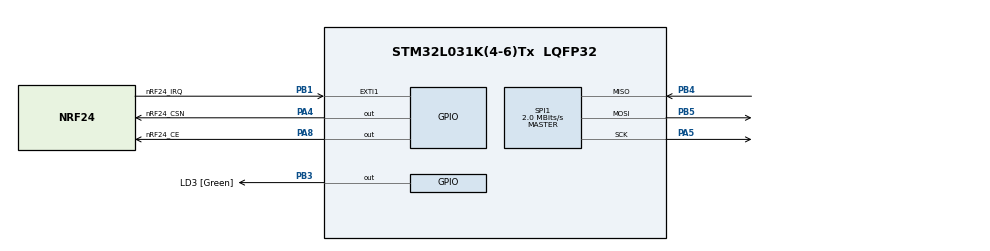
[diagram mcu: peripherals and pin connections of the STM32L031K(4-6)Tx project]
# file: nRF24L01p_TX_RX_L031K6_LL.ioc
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Mcu.Family=STM32L0
Mcu.Name=STM32L031K(4-6)Tx
Mcu.Package=LQFP32
NVIC.EXTI0_1_IRQn=true\:0\:0\:false\:false\:true\:true\:true\:true
NVIC.TIM21_IRQn=true\:0\:0\:false\:false\:true\:true\:true\:true
PA13.GPIO_Label=TMS
PA13.Mode=Serial_Wire
PA13.Signal=SYS_SWDIO
PA14.GPIO_Label=TCK
PA14.Mode=Serial_Wire
PA14.Signal=SYS_SWCLK
PA4.GPIO_Label=nRF24_CSN
PA4.PinState=GPIO_PIN_SET
PA4.Signal=GPIO_Output
PA5.Mode=Full_Duplex_Master
PA5.Signal=SPI1_SCK
PA8.GPIO_Label=nRF24_CE
PA8.Signal=GPIO_Output
PB1.GPIO_Label=nRF24_IRQ
PB1.GPIO_ModeDefaultEXTI=GPIO_MODE_IT_FALLING
PB1.Signal=GPXTI1
PB3.GPIO_Label=LD3 [Green]
PB3.Signal=GPIO_Output
PB4.Mode=Full_Duplex_Master
PB4.Signal=SPI1_MISO
PB5.Mode=Full_Duplex_Master
PB5.Signal=SPI1_MOSI
PC14-OSC32_IN.Mode=LSE-External-Oscillator
PC14-OSC32_IN.Signal=RCC_OSC32_IN
PC15-OSC32_OUT.Mode=LSE-External-Oscillator
PC15-OSC32_OUT.Signal=RCC_OSC32_OUT
ProjectManager.HeapSize=0x0
ProjectManager.StackSize=0x400
ProjectManager.TargetToolchain=STM32CubeIDE
RCC.AHBFreq_Value=32000000
RCC.APB1Freq_Value=32000000
RCC.APB1TimFreq_Value=32000000
RCC.APB2Freq_Value=32000000
RCC.APB2TimFreq_Value=32000000
RCC.HCLKFreq_Value=32000000
RCC.HSE_VALUE=8000000
RCC.HSI16_VALUE=16000000
RCC.HSI48_VALUE=48000000
RCC.HSI_VALUE=16000000
RCC.MSI_VALUE=2097000
RCC.PLLMUL=RCC_PLLMUL_4
RCC.SYSCLKFreq_VALUE=32000000
RCC.SYSCLKSource=RCC_SYSCLKSOURCE_PLLCLK
RCC.VCOOutputFreq_Value=64000000
SPI1.BaudRatePrescaler=SPI_BAUDRATEPRESCALER_16
SPI1.CalculateBaudRate=2.0 MBits/s
SPI1.Direction=SPI_DIRECTION_2LINES
SPI1.Mode=SPI_MODE_MASTER
SPI1.VirtualType=VM_MASTER
TIM2.Period=65535
TIM2.Prescaler=32
TIM21.Prescaler=32
VP_TIM21_VS_ClockSourceINT.Mode=Internal
VP_TIM2_VS_ClockSourceINT.Mode=Internal
board=NUCLEO-L031K6

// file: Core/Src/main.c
/* USER CODE BEGIN Header */
/**
  ******************************************************************************
  * @file           : main.c
  * @brief          : Main program body
  ******************************************************************************
  * @attention
  *
  * Copyright (c) 2024 STMicroelectronics.
  * All rights reserved.
  *
  * This software is licensed under terms that can be found in the LICENSE file
  * in the root directory of this software component.
  * If no LICENSE file comes with this software, it is provided AS-IS.
  *
  ******************************************************************************
  */
/* USER CODE END Header */
#include "main.h"
#include "spi.h"
#include "tim.h"
#include "gpio.h"
#include <stddef.h>

/* USER CODE BEGIN Includes */
#include "nrf24l01p.h"
/* USER CODE END Includes */

/* USER CODE BEGIN PD */
#define TRANSMITTER
//#define RECEIVER
/* USER CODE END PD */

/* USER CODE BEGIN PM */
#define NRF24_DATA_LENGTH 8
/* USER CODE END PM */

/* USER CODE BEGIN PV */

// Following function prototypes needed here to init private variable nrf24_config
void nrf24l01p_set_cs(uint8_t state);
void nrf24l01p_set_ce(uint8_t state);

Nrf24l01pDevice nrf24_device = {
		.interface = {
			.set_cs = &nrf24l01p_set_cs,
			.set_ce = &nrf24l01p_set_ce,
			.spi_tx = &SPI1_Transmit,
			.spi_rx = &SPI1_Receive,
			.spi_tx_rx = &SPI1_TransmitReceive
		},
		.config = {
			.channel_MHz = 2500,
			.address_width = 5,
			.data_rate = NRF24L01P_1MBPS,
			.crc_length = NRF24L01P_CRC_1BYTE
		},
		.tx_config = {
			.output_power = NRF24L01P_0DBM,
			.auto_retransmit_count = 3,
			.auto_retransmit_delay_250us = 1,
			.address = NRF24L01P_REG_TX_ADDR_RSTVAL
		},
		.rx_config = {
			.enable_pipes = 0b00000001,
			.auto_ack_pipes = 0b00000001,
			.address_p0 = NRF24L01P_REG_RX_ADDR_P0_RSTVAL,
			.address_p1 = NRF24L01P_REG_RX_ADDR_P1_RSTVAL,
			.address_p2 = NRF24L01P_REG_RX_ADDR_P2_RSTVAL,
			.address_p3 = NRF24L01P_REG_RX_ADDR_P3_RSTVAL,
			.address_p4 = NRF24L01P_REG_RX_ADDR_P4_RSTVAL,
			.address_p5 = NRF24L01P_REG_RX_ADDR_P5_RSTVAL,
			.data_length = {8}
		}
};
/* USER CODE END PV */

void SystemClock_Config(void);
/* USER CODE BEGIN PFP */
void GPIO_EXTI1_IRQ_callback(void);
/* USER CODE END PFP */

int main(void)
{

  /* MCU Configuration--------------------------------------------------------*/

  /* Reset of all peripherals, Initializes the Flash interface and the Systick. */
  LL_APB2_GRP1_EnableClock(LL_APB2_GRP1_PERIPH_SYSCFG);
  LL_APB1_GRP1_EnableClock(LL_APB1_GRP1_PERIPH_PWR);

  /* Configure the system clock */
  SystemClock_Config();

  /* Initialize all configured peripherals */
  MX_GPIO_Init();
  MX_SPI1_Init();
  MX_TIM2_Init();
  MX_TIM21_Init();
  /* USER CODE BEGIN 2 */
  LL_SPI_Enable(SPI1);
  nrf24l01p_init_ptx(&nrf24_device);

#ifdef RECEIVER
  nrf24l01p_set_prx_mode(&nrf24_device);
  uint8_t rx_data[NRF24_DATA_LENGTH] = {0};
  nrf24l01p_set_tx_addr(&nrf24_device, 0);
  nrf24l01p_set_rx_addr(&nrf24_device, 0, 0);
#endif

#ifdef TRANSMITTER
  nrf24l01p_set_ptx_mode(&nrf24_device);
  uint8_t tx_data[NRF24_DATA_LENGTH] = {0, 1, 2, 3, 4, 5, 6, 7};
  //nrf24l01p_set_tx_addr(0xE7E7E7E7E7);
  //nrf24l01p_set_rx_addr(0, 0xE7E7E7E7E7);
#endif
  /* USER CODE END 2 */

  /* Infinite loop */
  /* USER CODE BEGIN WHILE */
  while (1)
  {
#ifdef RECEIVER
	  // Nothing to do
#endif

#ifdef TRANSMITTER

	  nrf24l01p_power_up(&nrf24_device);
	  TIMx_schedule_interrupt(1500);	// activating CE after min. 1.5 ms per nRF24L01+ datasheet specification
	  nrf24l01p_write_tx_fifo(&nrf24_device, tx_data, NRF24_DATA_LENGTH);	// TX data can be written any time, nRF24L01+ will send it when ready

	  for(int i= 0; i < 8; i++)
		  tx_data[i]++;

#endif
	  //LL_GPIO_SetOutputPin(NRF24L01P_CE_PIN_PORT, NRF24L01P_CE_PIN_NUMBER);
	  LL_mDelay(250);
	  //LL_GPIO_ResetOutputPin(NRF24L01P_CE_PIN_PORT, NRF24L01P_CE_PIN_NUMBER);
    /* USER CODE END WHILE */

  }
}

void SystemClock_Config(void)
{
  LL_FLASH_SetLatency(LL_FLASH_LATENCY_1);
  while(LL_FLASH_GetLatency()!= LL_FLASH_LATENCY_1)
  {
  }
  LL_PWR_SetRegulVoltageScaling(LL_PWR_REGU_VOLTAGE_SCALE1);
  while (LL_PWR_IsActiveFlag_VOS() != 0)
  {
  }
  LL_RCC_HSI_Enable();

   /* Wait till HSI is ready */
  while(LL_RCC_HSI_IsReady() != 1)
  {

  }
  LL_RCC_HSI_SetCalibTrimming(16);
  LL_RCC_PLL_ConfigDomain_SYS(LL_RCC_PLLSOURCE_HSI, LL_RCC_PLL_MUL_4, LL_RCC_PLL_DIV_2);
  LL_RCC_PLL_Enable();

   /* Wait till PLL is ready */
  while(LL_RCC_PLL_IsReady() != 1)
  {

  }
  LL_RCC_SetAHBPrescaler(LL_RCC_SYSCLK_DIV_1);
  LL_RCC_SetAPB1Prescaler(LL_RCC_APB1_DIV_1);
  LL_RCC_SetAPB2Prescaler(LL_RCC_APB2_DIV_1);
  LL_RCC_SetSysClkSource(LL_RCC_SYS_CLKSOURCE_PLL);

   /* Wait till System clock is ready */
  while(LL_RCC_GetSysClkSource() != LL_RCC_SYS_CLKSOURCE_STATUS_PLL)
  {

  }

  LL_Init1msTick(32000000);

  LL_SetSystemCoreClock(32000000);
}

/* USER CODE BEGIN 4 */
void GPIO_EXTI1_IRQ_callback(void)
{
	// Logic 0 check... should not be necessary because interrupt is set for falling edge though
	if(!LL_GPIO_IsInputPinSet(nRF24_IRQ_GPIO_Port, nRF24_IRQ_Pin))
	{
		Nrf24l01pIrq irq_sources;
		if(nrf24l01p_get_and_clear_irq_flags(&nrf24_device, &irq_sources) != NRF24L01P_SUCCESS)
			return;

#ifdef RECEIVER
		if (irq_sources.rx_dr)
			nrf24l01p_rx_receive(&nrf24_device, rx_data);
#endif

#ifdef TRANSMITTER
		if (irq_sources.tx_ds)
			LL_GPIO_TogglePin(LD3_GPIO_Port, LD3_Pin);
		else if (irq_sources.max_rt)
			LL_GPIO_ResetOutputPin(LD3_GPIO_Port, LD3_Pin);
#endif

		nrf24l01p_power_down(&nrf24_device);
		nrf24l01p_set_ce(0);
	}
}

void TIM21_IRQ_callback(void)
{
	// do scheduled action here!
	nrf24l01p_set_ce(1);
	TIMx_disable_scheduled_interrupt();
}

/*---------- Functions to be passed to nRF24 driver via pointer ---------*/
void nrf24l01p_set_cs(uint8_t state)
{
	if (state)
		LL_GPIO_SetOutputPin(nRF24_CSN_GPIO_Port, nRF24_CSN_Pin);
	else
		LL_GPIO_ResetOutputPin(nRF24_CSN_GPIO_Port, nRF24_CSN_Pin);
}

void nrf24l01p_set_ce(uint8_t state)
{
	if (state)
		LL_GPIO_SetOutputPin(nRF24_CE_GPIO_Port, nRF24_CE_Pin);
	else
		LL_GPIO_ResetOutputPin(nRF24_CE_GPIO_Port, nRF24_CE_Pin);
}

/* USER CODE END 4 */

void Error_Handler(void)
{
  __disable_irq();
  while (1)
  {
  }
}
